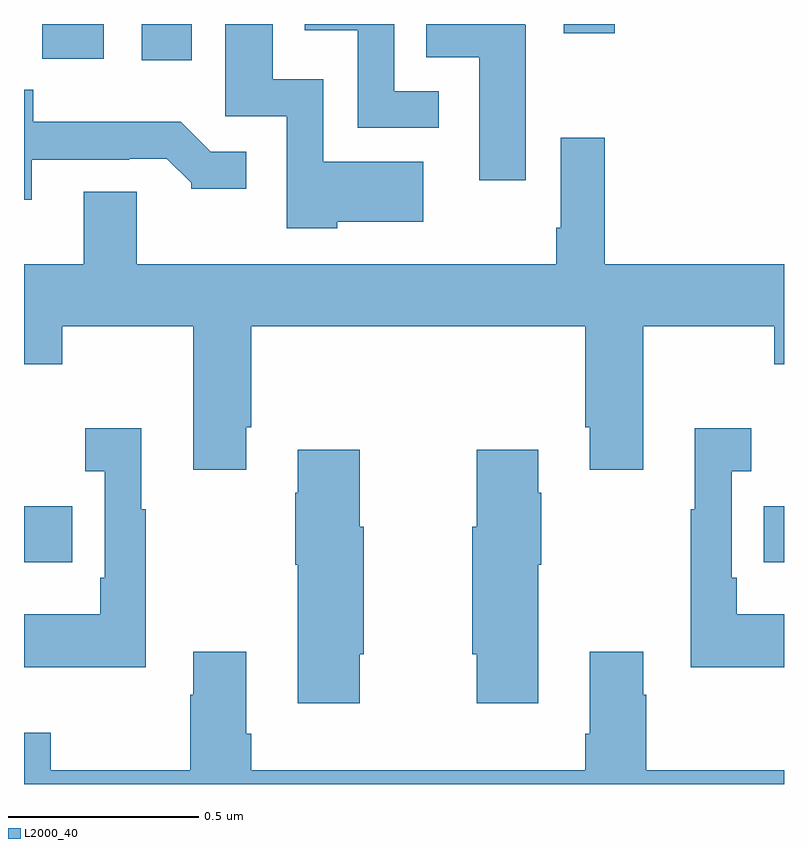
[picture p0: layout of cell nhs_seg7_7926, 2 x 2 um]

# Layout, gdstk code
import gdstk
lib = gdstk.Library(unit=1e-6, precision=1e-09)
def R(c, l, rs):  # rectangles x0, y0, x1, y1
    for r in rs: c.add(gdstk.rectangle(r[:2], r[2:], *l))
def P(c, l, *ps):  # polygons
    for p in ps: c.add(gdstk.Polygon(p, *l))
L2000_40 = (2000, 40)

nhs_seg7_7926 = lib.new_cell('nhs_seg7_7926')
R(nhs_seg7_7926, L2000_40, [(217,1078.583,217.127,1078.731), (218.947,1078.583,219,1078.731), (217.31,1079.904,217.441,1080), (217.048,1079.909,217.21,1080), (218.42,1079.976,218.555,1080)])
P(nhs_seg7_7926, L2000_40, [(218.092,1079.823),(217.974,1079.823),(217.974,1080),(217.739,1080),(217.739,1079.984),(217.878,1079.984),(217.878,1079.727),(218.092,1079.727)],
  [(218.32,1079.998),(218.318,1080),(218.059,1080),(218.059,1079.912),(218.198,1079.912),(218.198,1079.589),(218.32,1079.589)],
  [(217.824,1079.48),(218.05,1079.48),(218.05,1079.638),(217.788,1079.638),(217.788,1079.854),(217.654,1079.854),(217.654,1080),(217.529,1080),(217.529,1079.757),(217.692,1079.757),(217.692,1079.462),(217.824,1079.462)],
  [(217.021,1079.643),(217.277,1079.643),(217.277,1079.646),(217.376,1079.646),(217.44,1079.582),(217.44,1079.567),(217.585,1079.567),(217.585,1079.664),(217.491,1079.664),(217.413,1079.743),(217.024,1079.743),(217.024,1079.827),(217,1079.827),(217,1079.538),(217.021,1079.538)],
  [(217.585,1078.939),(217.598,1078.939),(217.598,1079.204),(218.477,1079.204),(218.477,1078.939),(218.489,1078.939),(218.489,1078.827),(218.629,1078.827),(218.629,1079.204),(218.974,1079.204),(218.974,1079.105),(219,1079.105),(219,1079.368),(218.528,1079.368),(218.528,1079.701),(218.412,1079.701),(218.412,1079.464),(218.4,1079.464),(218.4,1079.368),(217.297,1079.368),(217.297,1079.558),(217.157,1079.558),(217.157,1079.368),(217,1079.368),(217,1079.105),(217.101,1079.105),(217.101,1079.204),(217.445,1079.204),(217.445,1078.827),(217.585,1078.827)],
  [(219,1078.447),(218.875,1078.447),(218.875,1078.543),(218.862,1078.543),(218.862,1078.823),(218.914,1078.823),(218.914,1078.936),(218.765,1078.936),(218.765,1078.723),(218.754,1078.723),(218.754,1078.307),(219,1078.307)],
  [(217.321,1078.723),(217.309,1078.723),(217.309,1078.936),(217.161,1078.936),(217.161,1078.823),(217.212,1078.823),(217.212,1078.543),(217.2,1078.543),(217.2,1078.447),(217,1078.447),(217,1078.307),(217.321,1078.307)],
  [(217.884,1078.341),(217.894,1078.341),(217.894,1078.677),(217.884,1078.677),(217.884,1078.879),(217.721,1078.879),(217.721,1078.766),(217.714,1078.766),(217.714,1078.577),(217.721,1078.577),(217.721,1078.212),(217.884,1078.212)],
  [(218.353,1078.577),(218.361,1078.577),(218.361,1078.766),(218.353,1078.766),(218.353,1078.879),(218.191,1078.879),(218.191,1078.677),(218.18,1078.677),(218.18,1078.341),(218.191,1078.341),(218.191,1078.212),(218.353,1078.212)],
  [(219,1078.036),(218.637,1078.036),(218.637,1078.235),(218.629,1078.235),(218.629,1078.348),(218.489,1078.348),(218.489,1078.132),(218.477,1078.132),(218.477,1078.036),(217.598,1078.036),(217.598,1078.132),(217.585,1078.132),(217.585,1078.348),(217.445,1078.348),(217.445,1078.235),(217.438,1078.235),(217.438,1078.036),(217.071,1078.036),(217.071,1078.135),(217,1078.135),(217,1078),(219,1078)])

lib.write_gds('nhs_seg7_7926.gds')
